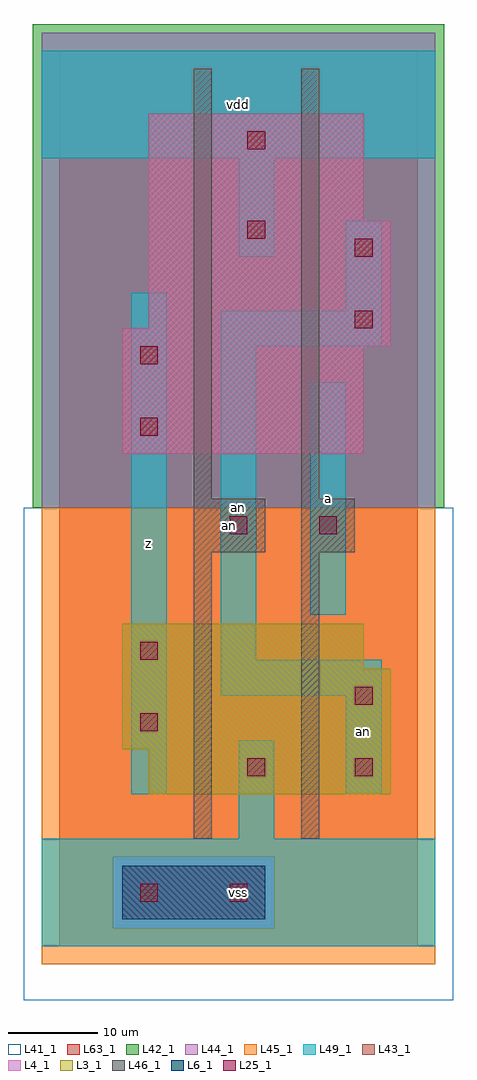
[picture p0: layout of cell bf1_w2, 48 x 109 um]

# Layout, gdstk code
import gdstk
lib = gdstk.Library(unit=1e-6, precision=1e-09)
def R(c, l, rs):  # rectangles x0, y0, x1, y1
    for r in rs: c.add(gdstk.rectangle(r[:2], r[2:], *l))
L3_1 = (3, 1)
L4_1 = (4, 1)
L6_1 = (6, 1)
L25_1 = (25, 1)
L41_1 = (41, 1)
L42_1 = (42, 1)
L43_1 = (43, 1)
L44_1 = (44, 1)
L45_1 = (45, 1)
L46_1 = (46, 1)
L49_1 = (49, 1)
L63_1 = (63, 1)

bf1_w2 = lib.new_cell('bf1_w2')
R(bf1_w2, L3_1, [(10,17,37,22), (7,22,37,31), (7,31,34,36)])
R(bf1_w2, L4_1, [(7,55,34,67), (7,67,37,69), (10,69,37,81), (10,81,34,93)])
R(bf1_w2, L6_1, [(7,3,23,9)])
R(bf1_w2, L25_1, [(9,5,11,7), (19,5,21,7), (21,19,23,21), (33,19,35,21), (9,24,11,26), (33,27,35,29), (9,32,11,34), (19,46,21,48), (29,46,31,48), (9,57,11,59), (9,65,11,67), (33,69,35,71), (33,77,35,79), (21,79,23,81), (21,89,23,91)])
R(bf1_w2, L41_1, [(-4,-6,44,49), (-3,-3,43,49)])
R(bf1_w2, L42_1, [(-3,49,43,103)])
R(bf1_w2, L43_1, [(7,3,23,9), (10,17,37,22), (7,22,37,31), (7,31,34,36), (7,55,34,67), (7,67,37,69), (10,69,37,81), (10,81,34,93)])
R(bf1_w2, L44_1, [(6,2,24,10), (-2,49,42,102)])
R(bf1_w2, L45_1, [(-2,-2,42,2), (-2,2,6,10), (24,2,42,10), (-2,10,42,49)])
R(bf1_w2, L46_1, [(15,12,17,44), (27,12,29,44), (15,44,23,50), (27,44,33,50), (15,50,17,98), (27,50,29,98)])
R(bf1_w2, L49_1, [(-2,0,42,12), (20,12,24,23), (8,17,12,73), (32,17,36,28), (18,28,36,32), (18,32,22,67), (28,37,32,63), (18,67,36,71), (32,71,36,81), (20,77,24,88), (-2,88,42,100)])
R(bf1_w2, L63_1, [(0,0,40,100)])
bf1_w2.add(gdstk.Label('an', (19,47), layer=49, texttype=1))
bf1_w2.add(gdstk.Label('z', (10,45), layer=49, texttype=1))
bf1_w2.add(gdstk.Label('z', (10,45), layer=49, texttype=1))
bf1_w2.add(gdstk.Label('vss', (20,6), layer=49, texttype=1))
bf1_w2.add(gdstk.Label('vss', (20,6), layer=49, texttype=1))
bf1_w2.add(gdstk.Label('an', (20,49), layer=49, texttype=1))
bf1_w2.add(gdstk.Label('vdd', (20,94), layer=49, texttype=1))
bf1_w2.add(gdstk.Label('vdd', (20,94), layer=49, texttype=1))
bf1_w2.add(gdstk.Label('an', (34,24), layer=49, texttype=1))
bf1_w2.add(gdstk.Label('a', (30,50), layer=49, texttype=1))
bf1_w2.add(gdstk.Label('a', (30,50), layer=49, texttype=1))

lib.write_gds('bf1_w2.gds')
